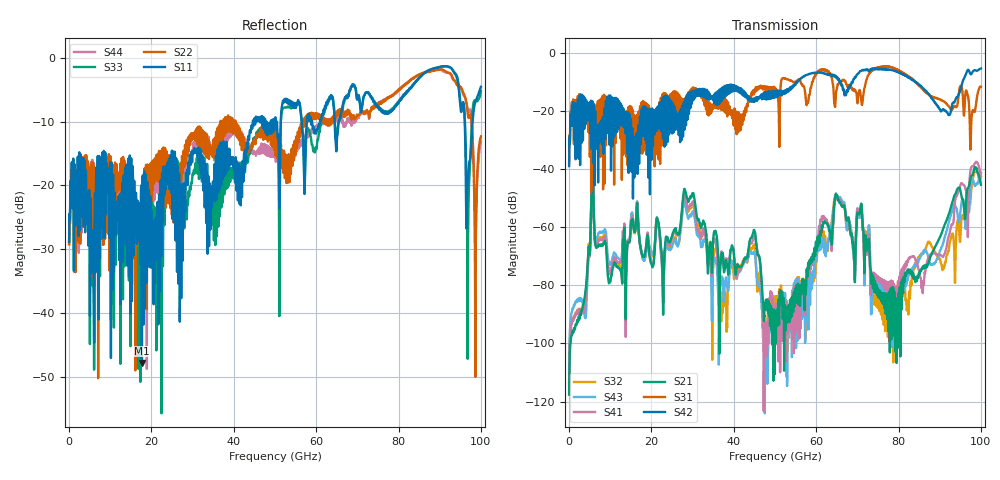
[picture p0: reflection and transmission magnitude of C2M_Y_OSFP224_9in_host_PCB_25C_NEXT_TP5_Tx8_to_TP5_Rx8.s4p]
# GHz S RI R 45
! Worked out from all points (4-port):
!   4000 points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, 25 MHz to 100 GHz, reference 45 ohm
!   strongest paths, dB at 25 MHz, 25.02 GHz, 50.02 GHz, 75.03 GHz, 100 GHz:
!     S42: -39.0, -27.7, -13.4, -5.4, -5.4
!     S31: -38.0, -14.1, -12.4, -5.0, -11.6
!     S21: -117.6, -63.0, -91.8, -81.2, -45.4
!     S41: -114.1, -63.8, -89.8, -78.6, -42.4
!     S43: -110.6, -66.8, -90.6, -78.4, -41.2
!     S32: -113.7, -66.0, -85.7, -87.9, -42.6
!   lowest |S11| = -47.8 dB at 17.7 GHz (marker M1), VSWR 1.01, Z = 45.1 + j0.352 ohm
!   |S11| at or under -10 dB: start of sweep to 44.62 GHz; 59.03 GHz to 60.93 GHz (1.901 GHz wide, 3.17 % of centre); 96.08 GHz to 98 GHz (1.927 GHz wide, 1.99 % of centre) (the widest 3 of 18)
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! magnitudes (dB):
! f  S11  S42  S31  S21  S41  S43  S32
! 25 MHz  -28.8  -39.0  -38.0  -117.6  -114.1  -110.6  -113.7
! 5.725 GHz  -33.7  -17.5  -32.5  -41.5  -41.4  -41.3  -41.4
! 17.7 GHz  -47.8  -22.8  -21.7  -69.1  -69.2  -69.6  -69.3
! 57.6 GHz  -11.3  -7.7  -17.5  -78.1  -80.7  -81.6  -85.5
! 65.08 GHz  -12.5  -8.6  -11.8  -49.0  -49.1  -49.9  -49.6
! 85.75 GHz  -2.7  -11.9  -12.3  -74.4  -80.0  -68.8  -69.1
! 100 GHz  -4.6  -5.4  -11.6  -45.4  -42.4  -41.2  -42.6
